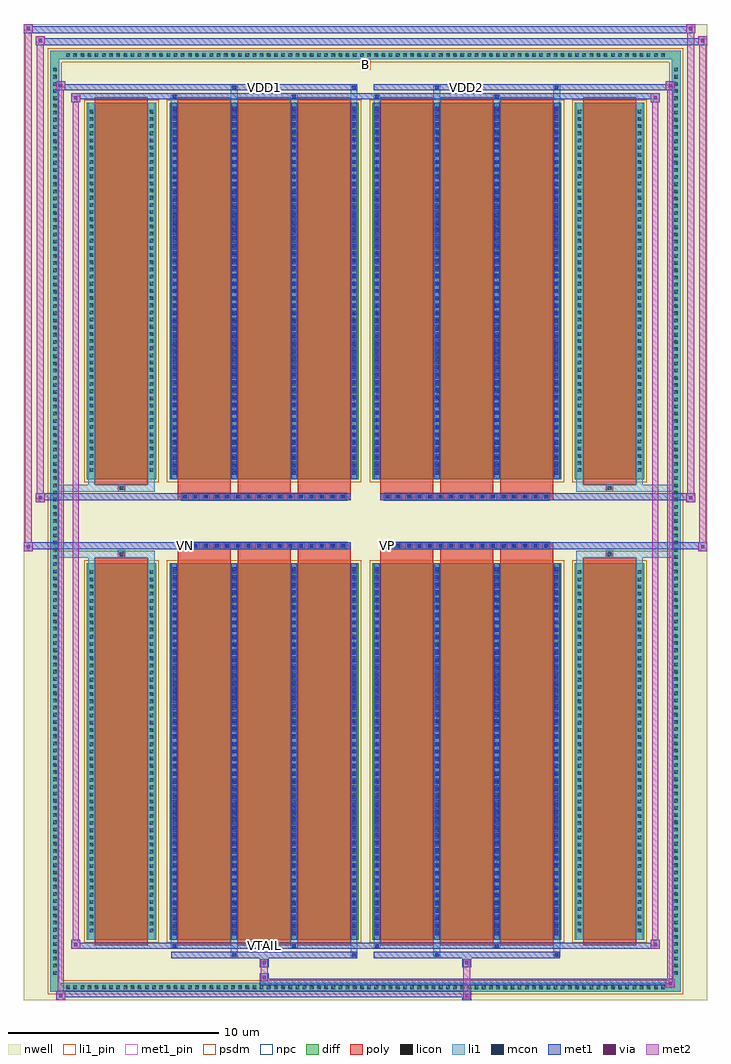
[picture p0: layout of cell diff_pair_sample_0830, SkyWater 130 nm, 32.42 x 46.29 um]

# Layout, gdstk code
import gdstk
lib = gdstk.Library(unit=1e-6, precision=5e-09)
def R(c, l, rs):  # rectangles x0, y0, x1, y1
    for r in rs: c.add(gdstk.rectangle(r[:2], r[2:], *l))
def A(c, l, x, y, w, h, nx, ny, dx, dy):  # array of equal rectangles
    R(c, l, [(x+i*dx, y+j*dy, x+i*dx+w, y+j*dy+h) for i in range(nx) for j in range(ny)])
def P(c, l, *ps):  # polygons
    for p in ps: c.add(gdstk.Polygon(p, *l))
nwell = (64, 20)
diff = (65, 20)
poly = (66, 20)
licon = (66, 44)
li1_pin = (67, 16)
li1 = (67, 20)
mcon = (67, 44)
met1_pin = (68, 16)
met1 = (68, 20)
via = (68, 44)
met2 = (69, 20)
psdm = (94, 20)
npc = (95, 20)

diff_pair_sample_0830 = lib.new_cell('diff_pair_sample_0830')
R(diff_pair_sample_0830, nwell, [(-16.21,-22.71,16.21,23.58), (-13.53,-20.9,-0.01,-0.8), (0.01,-20.9,13.53,-0.8), (-13.53,0.8,-0.01,20.9), (0.01,0.8,13.53,20.9)])
A(diff_pair_sample_0830, diff, -14.315, -22.31, 0.41, 0.41, 84, 2, 0.34, 44.21)
A(diff_pair_sample_0830, diff, -14.94, -21.625, 0.41, 0.41, 1, 127, 0, 0.34)
A(diff_pair_sample_0830, diff, 14.53, -21.625, 0.41, 0.41, 1, 127, 0, 0.34)
R(diff_pair_sample_0830, diff, [(-14.315,-22.31,14.315,-21.9), (-14.94,-21.625,-14.53,21.625), (14.53,-21.625,14.94,21.625), (-13.22,-19.855,-9.93,-1.985), (-9.29,-19.855,-0.32,-1.985), (0.32,-19.855,9.29,-1.985), (9.93,-19.855,13.22,-1.985), (-13.22,1.985,-9.93,19.855), (-9.29,1.985,-0.32,19.855), (0.32,1.985,9.29,19.855), (9.93,1.985,13.22,19.855), (-14.315,21.9,14.315,22.31)])
P(diff_pair_sample_0830, diff, [(14.94,22.31),(-14.94,22.31),(-14.94,-21.9),(-14.53,-21.9),(-14.53,21.9),(14.53,21.9),(14.53,-21.9),(-14.53,-21.9),(-14.94,-21.9),(-14.94,-22.31),(14.94,-22.31)])
A(diff_pair_sample_0830, poly, -8.9, -20.105, 2.51, 18.37, 3, 2, 2.84, 21.84)
A(diff_pair_sample_0830, poly, 0.71, -20.105, 2.51, 18.37, 3, 2, 2.84, 21.84)
A(diff_pair_sample_0830, poly, -8.9, -1.735, 2.51, 0.405, 3, 2, 2.84, 3.065)
A(diff_pair_sample_0830, poly, 0.71, -1.735, 2.51, 0.405, 3, 2, 2.84, 3.065)
A(diff_pair_sample_0830, poly, -8.72, -1.33, 0.33, 0.33, 16, 2, 0.5, 2.33)
A(diff_pair_sample_0830, poly, 0.89, -1.33, 0.33, 0.33, 16, 2, 0.5, 2.33)
R(diff_pair_sample_0830, poly, [(-12.83,-20.105,-10.32,-1.735), (10.32,-20.105,12.83,-1.735), (-11.74,-1.735,-11.41,-1.405), (-11.74,-1.735,-11.41,-1.405), (11.41,-1.735,11.74,-1.405), (11.41,-1.735,11.74,-1.405), (-8.9,-1.33,-0.71,-1), (0.71,-1.33,8.9,-1), (-8.9,1,-0.71,1.33), (0.71,1,8.9,1.33), (-11.74,1.405,-11.41,1.735), (-11.74,1.405,-11.41,1.735), (11.41,1.405,11.74,1.735), (11.41,1.405,11.74,1.735), (-12.83,1.735,-10.32,20.105), (10.32,1.735,12.83,20.105)])
A(diff_pair_sample_0830, licon, -14.195, -22.19, 0.17, 0.17, 84, 2, 0.34, 44.21)
A(diff_pair_sample_0830, licon, -14.82, -21.505, 0.17, 0.17, 1, 127, 0, 0.34)
A(diff_pair_sample_0830, licon, 14.65, -21.505, 0.17, 0.17, 1, 127, 0, 0.34)
A(diff_pair_sample_0830, licon, -13.08, -19.505, 0.17, 0.17, 1, 51, 0, 0.34)
A(diff_pair_sample_0830, licon, -10.24, -19.505, 0.17, 0.17, 1, 51, 0, 0.34)
A(diff_pair_sample_0830, licon, -9.15, -19.505, 0.17, 0.17, 4, 51, 2.84, 0.34)
A(diff_pair_sample_0830, licon, 0.46, -19.505, 0.17, 0.17, 4, 51, 2.84, 0.34)
A(diff_pair_sample_0830, licon, 10.07, -19.505, 0.17, 0.17, 1, 51, 0, 0.34)
A(diff_pair_sample_0830, licon, 12.91, -19.505, 0.17, 0.17, 1, 51, 0, 0.34)
A(diff_pair_sample_0830, licon, -8.64, -1.25, 0.17, 0.17, 16, 2, 0.5, 2.33)
A(diff_pair_sample_0830, licon, 0.97, -1.25, 0.17, 0.17, 16, 2, 0.5, 2.33)
A(diff_pair_sample_0830, licon, -13.08, 2.335, 0.17, 0.17, 1, 51, 0, 0.34)
A(diff_pair_sample_0830, licon, -10.24, 2.335, 0.17, 0.17, 1, 51, 0, 0.34)
A(diff_pair_sample_0830, licon, -9.15, 2.335, 0.17, 0.17, 4, 51, 2.84, 0.34)
A(diff_pair_sample_0830, licon, 0.46, 2.335, 0.17, 0.17, 4, 51, 2.84, 0.34)
A(diff_pair_sample_0830, licon, 10.07, 2.335, 0.17, 0.17, 1, 51, 0, 0.34)
A(diff_pair_sample_0830, licon, 12.91, 2.335, 0.17, 0.17, 1, 51, 0, 0.34)
R(diff_pair_sample_0830, licon, [(-11.66,-1.655,-11.49,-1.485), (11.49,-1.655,11.66,-1.485), (-11.66,1.485,-11.49,1.655), (11.49,1.485,11.66,1.655)])
R(diff_pair_sample_0830, li1_pin, [(-0.25,21.4,0.25,21.9)])
A(diff_pair_sample_0830, li1, -14.275, -22.27, 0.33, 0.33, 84, 2, 0.34, 44.21)
A(diff_pair_sample_0830, li1, -14.9, -21.585, 0.33, 0.33, 1, 127, 0, 0.34)
A(diff_pair_sample_0830, li1, 14.57, -21.585, 0.33, 0.33, 1, 127, 0, 0.34)
A(diff_pair_sample_0830, li1, -9.23, -19.855, 0.33, 17.87, 4, 2, 2.84, 21.84)
A(diff_pair_sample_0830, li1, 0.38, -19.855, 0.33, 17.87, 4, 2, 2.84, 21.84)
A(diff_pair_sample_0830, li1, -9.15, -19.645, 0.17, 0.17, 4, 49, 2.84, 0.36)
A(diff_pair_sample_0830, li1, -9.15, -19.645, 0.17, 17.45, 4, 2, 2.84, 21.84)
A(diff_pair_sample_0830, li1, 0.46, -19.645, 0.17, 0.17, 4, 49, 2.84, 0.36)
A(diff_pair_sample_0830, li1, 0.46, -19.645, 0.17, 17.45, 4, 2, 2.84, 21.84)
A(diff_pair_sample_0830, li1, -13.16, -19.585, 0.33, 0.33, 1, 51, 0, 0.34)
A(diff_pair_sample_0830, li1, -10.32, -19.585, 0.33, 0.33, 1, 51, 0, 0.34)
A(diff_pair_sample_0830, li1, -9.23, -19.585, 0.33, 0.33, 4, 51, 2.84, 0.34)
A(diff_pair_sample_0830, li1, 0.38, -19.585, 0.33, 0.33, 4, 51, 2.84, 0.34)
A(diff_pair_sample_0830, li1, 9.99, -19.585, 0.33, 0.33, 1, 51, 0, 0.34)
A(diff_pair_sample_0830, li1, 12.83, -19.585, 0.33, 0.33, 1, 51, 0, 0.34)
A(diff_pair_sample_0830, li1, -8.72, -1.33, 0.33, 0.33, 16, 2, 0.5, 2.33)
A(diff_pair_sample_0830, li1, 0.89, -1.33, 0.33, 0.33, 16, 2, 0.5, 2.33)
A(diff_pair_sample_0830, li1, -9.15, 2.195, 0.17, 0.17, 4, 49, 2.84, 0.36)
A(diff_pair_sample_0830, li1, 0.46, 2.195, 0.17, 0.17, 4, 49, 2.84, 0.36)
A(diff_pair_sample_0830, li1, -13.16, 2.255, 0.33, 0.33, 1, 51, 0, 0.34)
A(diff_pair_sample_0830, li1, -10.32, 2.255, 0.33, 0.33, 1, 51, 0, 0.34)
A(diff_pair_sample_0830, li1, -9.23, 2.255, 0.33, 0.33, 4, 51, 2.84, 0.34)
A(diff_pair_sample_0830, li1, 0.38, 2.255, 0.33, 0.33, 4, 51, 2.84, 0.34)
A(diff_pair_sample_0830, li1, 9.99, 2.255, 0.33, 0.33, 1, 51, 0, 0.34)
A(diff_pair_sample_0830, li1, 12.83, 2.255, 0.33, 0.33, 1, 51, 0, 0.34)
R(diff_pair_sample_0830, li1, [(-14.94,-22.31,-14.53,-21.9), (-14.94,-22.31,-14.53,-21.9), (-14.53,-22.31,14.53,-21.9), (14.53,-22.31,14.94,-21.9), (14.53,-22.31,14.94,-21.9), (-14.94,-21.9,-14.53,21.9), (14.53,-21.9,14.94,21.9), (-6.39,-20.66,-6.06,-19.855), (-6.31,-20.66,-6.14,-20.49), (-0.71,-20.66,-0.38,-19.855), (-0.63,-20.66,-0.46,-20.49), (3.22,-20.66,3.55,-19.855), (3.3,-20.66,3.47,-20.49), (8.9,-20.66,9.23,-19.855), (8.98,-20.66,9.15,-20.49), (-9.23,-20.23,-8.9,-19.855), (-9.15,-20.23,-8.98,-20.06), (-3.55,-20.23,-3.22,-19.855), (-3.47,-20.23,-3.3,-20.06), (0.38,-20.23,0.71,-19.855), (0.46,-20.23,0.63,-20.06), (6.06,-20.23,6.39,-19.855), (6.14,-20.23,6.31,-20.06), (-13.16,-19.855,-12.83,-1.985), (-10.32,-19.855,-9.99,-1.985), (9.99,-19.855,10.32,-1.985), (12.83,-19.855,13.16,-1.985), (-13.16,-1.985,-12.83,-1.405), (-10.32,-1.985,-9.99,-1.405), (9.99,-1.985,10.32,-1.405), (12.83,-1.985,13.16,-1.405), (-14.94,-1.735,-11.74,-1.405), (-13.16,-1.735,-11.74,-1.405), (-11.74,-1.735,-11.41,-1.405), (-11.41,-1.735,-9.99,-1.405), (9.99,-1.735,11.41,-1.405), (11.41,-1.735,11.74,-1.405), (11.41,-1.735,14.94,-1.405), (11.74,-1.735,13.16,-1.405), (-14.94,1.405,-11.74,1.735), (-13.16,1.405,-11.74,1.735), (-13.16,1.405,-12.83,1.985), (-11.74,1.405,-11.41,1.735), (-11.41,1.405,-9.99,1.735), (-10.32,1.405,-9.99,1.985), (9.99,1.405,11.41,1.735), (9.99,1.405,10.32,1.985), (11.41,1.405,11.74,1.735), (11.41,1.405,14.94,1.735), (11.74,1.405,13.16,1.735), (12.83,1.405,13.16,1.985), (-13.16,1.985,-12.83,19.855), (-10.32,1.985,-9.99,19.855), (9.99,1.985,10.32,19.855), (12.83,1.985,13.16,19.855), (-9.23,19.855,-8.9,20.23), (-6.39,19.855,-6.06,20.66), (-3.55,19.855,-3.22,20.23), (-0.71,19.855,-0.38,20.66), (0.38,19.855,0.71,20.23), (3.22,19.855,3.55,20.66), (6.06,19.855,6.39,20.23), (8.9,19.855,9.23,20.66), (-9.15,20.06,-8.98,20.23), (-3.47,20.06,-3.3,20.23), (0.46,20.06,0.63,20.23), (6.14,20.06,6.31,20.23), (-6.31,20.49,-6.14,20.66), (-0.63,20.49,-0.46,20.66), (3.3,20.49,3.47,20.66), (8.98,20.49,9.15,20.66), (-14.94,21.9,-14.53,22.31), (-14.94,21.9,-14.53,22.31), (-14.53,21.9,14.53,22.31), (14.53,21.9,14.94,22.31), (14.53,21.9,14.94,22.31)])
A(diff_pair_sample_0830, mcon, -9.15, -19.645, 0.17, 0.17, 4, 49, 2.84, 0.36)
A(diff_pair_sample_0830, mcon, 0.46, -19.645, 0.17, 0.17, 4, 49, 2.84, 0.36)
A(diff_pair_sample_0830, mcon, -8.64, -1.25, 0.17, 0.17, 16, 2, 0.5, 2.33)
A(diff_pair_sample_0830, mcon, 0.97, -1.25, 0.17, 0.17, 16, 2, 0.5, 2.33)
A(diff_pair_sample_0830, mcon, -9.15, 2.195, 0.17, 0.17, 4, 49, 2.84, 0.36)
A(diff_pair_sample_0830, mcon, 0.46, 2.195, 0.17, 0.17, 4, 49, 2.84, 0.36)
R(diff_pair_sample_0830, mcon, [(-6.31,-20.66,-6.14,-20.49), (-0.63,-20.66,-0.46,-20.49), (3.3,-20.66,3.47,-20.49), (8.98,-20.66,9.15,-20.49), (-9.15,-20.23,-8.98,-20.06), (-3.47,-20.23,-3.3,-20.06), (0.46,-20.23,0.63,-20.06), (6.14,-20.23,6.31,-20.06), (-9.15,20.06,-8.98,20.23), (-3.47,20.06,-3.3,20.23), (0.46,20.06,0.63,20.23), (6.14,20.06,6.31,20.23), (-6.31,20.49,-6.14,20.66), (-0.63,20.49,-0.46,20.66), (3.3,20.49,3.47,20.66), (8.98,20.49,9.15,20.66)])
R(diff_pair_sample_0830, met1_pin, [(-4.94,-20.27,-4.67,-20), (-8.69,-1.29,-8.42,-1.02), (0.92,-1.29,1.19,-1.02), (-4.94,20.45,-4.67,20.72), (4.67,20.45,4.94,20.72)])
A(diff_pair_sample_0830, met1, -9.21, -19.855, 0.29, 17.87, 4, 2, 2.84, 21.84)
A(diff_pair_sample_0830, met1, 0.4, -19.855, 0.29, 17.87, 4, 2, 2.84, 21.84)
A(diff_pair_sample_0830, met1, -9.21, -19.705, 0.29, 0.29, 4, 49, 2.84, 0.36)
A(diff_pair_sample_0830, met1, 0.4, -19.705, 0.29, 0.29, 4, 49, 2.84, 0.36)
A(diff_pair_sample_0830, met1, -8.7, -1.31, 0.29, 0.29, 16, 2, 0.5, 2.33)
A(diff_pair_sample_0830, met1, 0.91, -1.31, 0.29, 0.29, 16, 2, 0.5, 2.33)
A(diff_pair_sample_0830, met1, -9.21, 2.135, 0.29, 0.29, 4, 49, 2.84, 0.36)
A(diff_pair_sample_0830, met1, 0.4, 2.135, 0.29, 0.29, 4, 49, 2.84, 0.36)
R(diff_pair_sample_0830, met1, [(-14.67,-22.71,-14.24,-22.28), (4.59,-22.71,5.02,-22.28), (-14.67,-22.57,5.02,-22.28), (14.24,-22.14,14.67,-21.71), (-5.02,-22,14.67,-21.71), (-5.02,-21.86,-4.59,-21.43), (-5.02,-21.15,-4.59,-20.72), (4.59,-21.15,5.02,-20.72), (-9.21,-20.72,-0.4,-20.43), (-6.37,-20.72,-6.08,-20.43), (-0.69,-20.72,-0.4,-20.43), (0.4,-20.72,9.21,-20.43), (3.24,-20.72,3.53,-20.43), (8.92,-20.72,9.21,-20.43), (-13.96,-20.29,-13.53,-19.86), (-13.96,-20.29,-9.21,-20), (-9.21,-20.29,-8.92,-20), (-9.21,-20.29,-0.4,-20), (-3.53,-20.29,-3.24,-20), (-0.4,-20.29,0.4,-20), (0.4,-20.29,0.69,-20), (0.4,-20.29,9.21,-20), (6.08,-20.29,6.37,-20), (9.21,-20.29,13.96,-20), (13.53,-20.29,13.96,-19.86), (-16.21,-1.43,-15.78,-1), (15.78,-1.43,16.21,-1), (-16.21,-1.33,-0.71,-1), (-8.9,-1.33,-0.71,-1), (0.71,-1.33,8.9,-1), (0.71,-1.33,16.21,-1), (-15.64,0.9,-15.21,1.33), (15.21,0.9,15.64,1.33), (-15.64,1,-8.9,1.33), (-8.9,1,-0.71,1.33), (0.71,1,8.9,1.33), (8.9,1,15.64,1.33), (-13.96,19.86,-13.53,20.29), (13.53,19.86,13.96,20.29), (-13.96,20,-9.21,20.29), (-9.21,20,-8.92,20.29), (-9.21,20,-0.4,20.29), (-3.53,20,-3.24,20.29), (-0.4,20,0.4,20.29), (0.4,20,0.69,20.29), (0.4,20,9.21,20.29), (6.08,20,6.37,20.29), (9.21,20,13.96,20.29), (-14.67,20.43,-14.24,20.86), (-14.67,20.43,-9.21,20.72), (-9.21,20.43,-0.4,20.72), (-6.37,20.43,-6.08,20.72), (-0.69,20.43,-0.4,20.72), (0.4,20.43,9.21,20.72), (3.24,20.43,3.53,20.72), (8.92,20.43,9.21,20.72), (9.21,20.43,14.67,20.72), (14.24,20.43,14.67,20.86), (-15.64,22.58,-15.21,23.01), (-15.64,22.58,-13.53,22.91), (-13.53,22.58,13.53,22.91), (13.53,22.58,16.21,22.91), (15.78,22.58,16.21,23.01), (-16.21,23.15,-15.78,23.58), (-16.21,23.15,-13.53,23.48), (-13.53,23.15,13.53,23.48), (13.53,23.15,15.64,23.48), (15.21,23.15,15.64,23.58)])
R(diff_pair_sample_0830, via, [(-14.53,-22.57,-14.38,-22.42), (4.73,-22.57,4.88,-22.42), (14.38,-22,14.53,-21.85), (-4.88,-21.72,-4.73,-21.57), (-4.88,-21.01,-4.73,-20.86), (4.73,-21.01,4.88,-20.86), (-13.82,-20.15,-13.67,-20), (13.67,-20.15,13.82,-20), (-16.07,-1.29,-15.92,-1.14), (15.92,-1.29,16.07,-1.14), (-15.5,1.04,-15.35,1.19), (15.35,1.04,15.5,1.19), (-13.82,20,-13.67,20.15), (13.67,20,13.82,20.15), (-14.53,20.57,-14.38,20.72), (14.38,20.57,14.53,20.72), (-15.5,22.72,-15.35,22.87), (15.92,22.72,16.07,22.87), (-16.07,23.29,-15.92,23.44), (15.35,23.29,15.5,23.44)])
R(diff_pair_sample_0830, met2, [(-14.67,-22.71,-14.24,-22.28), (-14.6,-22.71,-14.31,20.86), (-14.31,-22.71,-14.24,-22.28), (-14.62,-22.66,-14.29,-22.33), (4.64,-22.66,4.97,-22.33), (4.64,-22.33,4.97,-21.1), (14.24,-22.14,14.67,-21.71), (14.31,-22.14,14.6,20.86), (14.6,-22.14,14.67,-21.71), (14.29,-22.09,14.62,-21.76), (-4.97,-21.81,-4.64,-21.48), (-4.97,-21.48,-4.64,-21.1), (-4.97,-21.1,-4.64,-20.77), (4.64,-21.1,4.97,-20.77), (-13.96,-20.29,-13.53,-19.86), (-13.89,-20.29,-13.6,20.29), (-13.6,-20.29,-13.53,-19.86), (13.53,-20.29,13.96,-19.86), (13.6,-20.29,13.89,20.29), (13.89,-20.29,13.96,-19.86), (-13.91,-20.24,-13.58,-19.91), (13.58,-20.24,13.91,-19.91), (-16.21,-1.43,-15.78,-1), (-16.16,-1.43,-15.83,23.58), (-15.83,-1.43,-15.78,-1), (15.78,-1.43,16.21,-1), (15.83,-1.43,16.16,23.01), (16.16,-1.43,16.21,-1), (-16.16,-1.38,-15.83,-1.05), (15.83,-1.38,16.16,-1.05), (-15.64,0.9,-15.21,1.33), (-15.59,0.9,-15.26,23.01), (-15.26,0.9,-15.21,1.33), (15.21,0.9,15.64,1.33), (15.26,0.9,15.59,23.58), (15.59,0.9,15.64,1.33), (-15.59,0.95,-15.26,1.28), (15.26,0.95,15.59,1.28), (-13.96,19.86,-13.53,20.29), (-13.6,19.86,-13.53,20.29), (13.53,19.86,13.96,20.29), (13.89,19.86,13.96,20.29), (-13.91,19.91,-13.58,20.24), (13.58,19.91,13.91,20.24), (-14.67,20.43,-14.24,20.86), (-14.31,20.43,-14.24,20.86), (14.24,20.43,14.67,20.86), (14.6,20.43,14.67,20.86), (-14.62,20.48,-14.29,20.81), (14.29,20.48,14.62,20.81), (-15.64,22.58,-15.21,23.01), (-15.26,22.58,-15.21,23.01), (15.78,22.58,16.21,23.01), (16.16,22.58,16.21,23.01), (-15.59,22.63,-15.26,22.96), (15.83,22.63,16.16,22.96), (-16.21,23.15,-15.78,23.58), (-15.83,23.15,-15.78,23.58), (15.21,23.15,15.64,23.58), (15.59,23.15,15.64,23.58), (-16.16,23.2,-15.83,23.53), (15.26,23.2,15.59,23.53)])
R(diff_pair_sample_0830, psdm, [(-13.35,-19.985,-9.8,-1.855), (-9.42,-19.985,-0.19,-1.855), (0.19,-19.985,9.42,-1.855), (9.8,-19.985,13.35,-1.855), (-13.35,1.855,-9.8,19.985), (-9.42,1.855,-0.19,19.985), (0.19,1.855,9.42,19.985), (9.8,1.855,13.35,19.985)])
P(diff_pair_sample_0830, psdm, [(15.07,22.44),(-15.07,22.44),(-15.07,-21.77),(-14.4,-21.77),(-14.4,21.77),(14.4,21.77),(14.4,-21.77),(-14.4,-21.77),(-15.07,-21.77),(-15.07,-22.44),(15.07,-22.44)])
A(diff_pair_sample_0830, npc, -8.74, -1.35, 0.37, 0.37, 16, 2, 0.5, 2.33)
A(diff_pair_sample_0830, npc, 0.87, -1.35, 0.37, 0.37, 16, 2, 0.5, 2.33)
R(diff_pair_sample_0830, npc, [(-11.76,-1.755,-11.39,-1.385), (11.39,-1.755,11.76,-1.385), (-8.74,-1.35,-7.87,-0.98), (-8.74,-1.35,-7.87,-0.98), (-8.24,-1.35,-7.37,-0.98), (-8.24,-1.35,-7.37,-0.98), (-7.74,-1.35,-6.87,-0.98), (-7.74,-1.35,-6.87,-0.98), (-7.24,-1.35,-6.37,-0.98), (-7.24,-1.35,-6.37,-0.98), (-6.74,-1.35,-5.87,-0.98), (-6.74,-1.35,-5.87,-0.98), (-6.24,-1.35,-5.37,-0.98), (-6.24,-1.35,-5.37,-0.98), (-5.74,-1.35,-4.87,-0.98), (-5.74,-1.35,-4.87,-0.98), (-5.24,-1.35,-4.37,-0.98), (-5.24,-1.35,-4.37,-0.98), (-4.74,-1.35,-3.87,-0.98), (-4.74,-1.35,-3.87,-0.98), (-4.24,-1.35,-3.37,-0.98), (-4.24,-1.35,-3.37,-0.98), (-3.74,-1.35,-2.87,-0.98), (-3.74,-1.35,-2.87,-0.98), (-3.24,-1.35,-2.37,-0.98), (-3.24,-1.35,-2.37,-0.98), (-2.74,-1.35,-1.87,-0.98), (-2.74,-1.35,-1.87,-0.98), (-2.24,-1.35,-1.37,-0.98), (-2.24,-1.35,-1.37,-0.98), (-1.74,-1.35,-0.87,-0.98), (-1.74,-1.35,-0.87,-0.98), (0.87,-1.35,1.74,-0.98), (0.87,-1.35,1.74,-0.98), (1.37,-1.35,2.24,-0.98), (1.37,-1.35,2.24,-0.98), (1.87,-1.35,2.74,-0.98), (1.87,-1.35,2.74,-0.98), (2.37,-1.35,3.24,-0.98), (2.37,-1.35,3.24,-0.98), (2.87,-1.35,3.74,-0.98), (2.87,-1.35,3.74,-0.98), (3.37,-1.35,4.24,-0.98), (3.37,-1.35,4.24,-0.98), (3.87,-1.35,4.74,-0.98), (3.87,-1.35,4.74,-0.98), (4.37,-1.35,5.24,-0.98), (4.37,-1.35,5.24,-0.98), (4.87,-1.35,5.74,-0.98), (4.87,-1.35,5.74,-0.98), (5.37,-1.35,6.24,-0.98), (5.37,-1.35,6.24,-0.98), (5.87,-1.35,6.74,-0.98), (5.87,-1.35,6.74,-0.98), (6.37,-1.35,7.24,-0.98), (6.37,-1.35,7.24,-0.98), (6.87,-1.35,7.74,-0.98), (6.87,-1.35,7.74,-0.98), (7.37,-1.35,8.24,-0.98), (7.37,-1.35,8.24,-0.98), (7.87,-1.35,8.74,-0.98), (7.87,-1.35,8.74,-0.98), (-8.74,0.98,-7.87,1.35), (-8.74,0.98,-7.87,1.35), (-8.24,0.98,-7.37,1.35), (-8.24,0.98,-7.37,1.35), (-7.74,0.98,-6.87,1.35), (-7.74,0.98,-6.87,1.35), (-7.24,0.98,-6.37,1.35), (-7.24,0.98,-6.37,1.35), (-6.74,0.98,-5.87,1.35), (-6.74,0.98,-5.87,1.35), (-6.24,0.98,-5.37,1.35), (-6.24,0.98,-5.37,1.35), (-5.74,0.98,-4.87,1.35), (-5.74,0.98,-4.87,1.35), (-5.24,0.98,-4.37,1.35), (-5.24,0.98,-4.37,1.35), (-4.74,0.98,-3.87,1.35), (-4.74,0.98,-3.87,1.35), (-4.24,0.98,-3.37,1.35), (-4.24,0.98,-3.37,1.35), (-3.74,0.98,-2.87,1.35), (-3.74,0.98,-2.87,1.35), (-3.24,0.98,-2.37,1.35), (-3.24,0.98,-2.37,1.35), (-2.74,0.98,-1.87,1.35), (-2.74,0.98,-1.87,1.35), (-2.24,0.98,-1.37,1.35), (-2.24,0.98,-1.37,1.35), (-1.74,0.98,-0.87,1.35), (-1.74,0.98,-0.87,1.35), (0.87,0.98,1.74,1.35), (0.87,0.98,1.74,1.35), (1.37,0.98,2.24,1.35), (1.37,0.98,2.24,1.35), (1.87,0.98,2.74,1.35), (1.87,0.98,2.74,1.35), (2.37,0.98,3.24,1.35), (2.37,0.98,3.24,1.35), (2.87,0.98,3.74,1.35), (2.87,0.98,3.74,1.35), (3.37,0.98,4.24,1.35), (3.37,0.98,4.24,1.35), (3.87,0.98,4.74,1.35), (3.87,0.98,4.74,1.35), (4.37,0.98,5.24,1.35), (4.37,0.98,5.24,1.35), (4.87,0.98,5.74,1.35), (4.87,0.98,5.74,1.35), (5.37,0.98,6.24,1.35), (5.37,0.98,6.24,1.35), (5.87,0.98,6.74,1.35), (5.87,0.98,6.74,1.35), (6.37,0.98,7.24,1.35), (6.37,0.98,7.24,1.35), (6.87,0.98,7.74,1.35), (6.87,0.98,7.74,1.35), (7.37,0.98,8.24,1.35), (7.37,0.98,8.24,1.35), (7.87,0.98,8.74,1.35), (7.87,0.98,8.74,1.35), (-11.76,1.385,-11.39,1.755), (11.39,1.385,11.76,1.755)])
diff_pair_sample_0830.add(gdstk.Label('VTAIL', (-4.805,-20.135), layer=68, texttype=5))
diff_pair_sample_0830.add(gdstk.Label('VN', (-8.555,-1.155), layer=68, texttype=5))
diff_pair_sample_0830.add(gdstk.Label('VP', (1.055,-1.155), layer=68, texttype=5))
diff_pair_sample_0830.add(gdstk.Label('B', (0,21.65), layer=67, texttype=5))
diff_pair_sample_0830.add(gdstk.Label('VDD2', (4.805,20.585), layer=68, texttype=5))
diff_pair_sample_0830.add(gdstk.Label('VDD1', (-4.805,20.585), layer=68, texttype=5))

lib.write_gds('diff_pair_sample_0830.gds')
